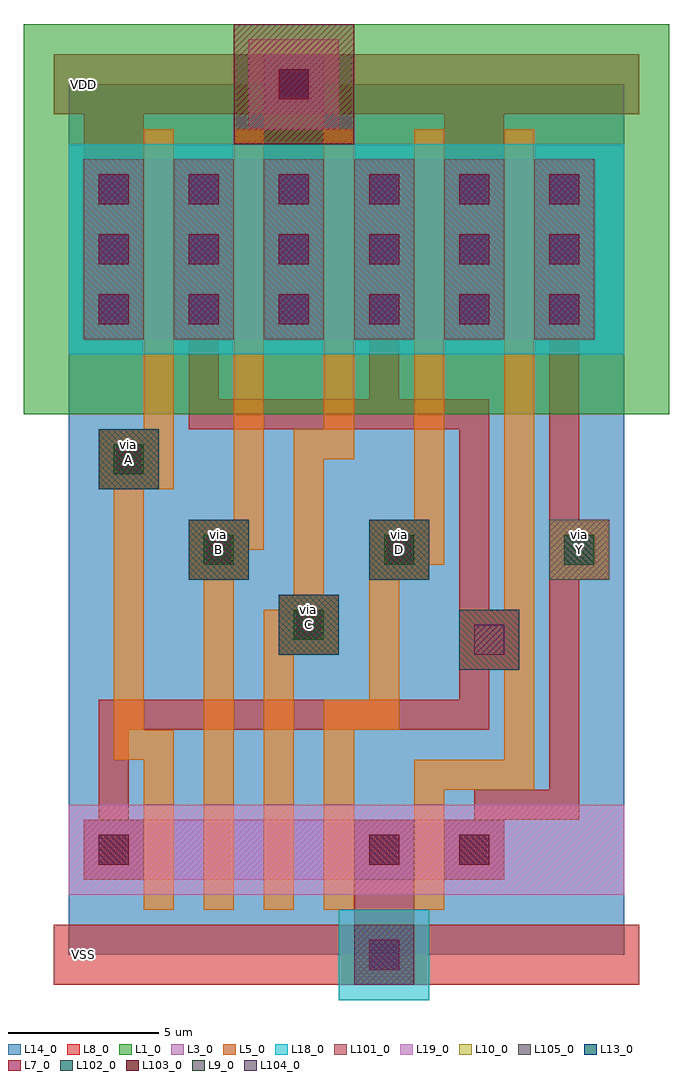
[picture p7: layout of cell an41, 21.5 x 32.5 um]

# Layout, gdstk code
import gdstk
lib = gdstk.Library(unit=1e-6, precision=1e-09)
def R(c, l, rs):  # rectangles x0, y0, x1, y1
    for r in rs: c.add(gdstk.rectangle(r[:2], r[2:], *l))
def A(c, l, x, y, w, h, nx, ny, dx, dy):  # array of equal rectangles
    R(c, l, [(x+i*dx, y+j*dy, x+i*dx+w, y+j*dy+h) for i in range(nx) for j in range(ny)])
def P(c, l, *ps):  # polygons
    for p in ps: c.add(gdstk.Polygon(p, *l))
L1_0 = (1, 0)
L3_0 = (3, 0)
L5_0 = (5, 0)
L7_0 = (7, 0)
L8_0 = (8, 0)
L9_0 = (9, 0)
L10_0 = (10, 0)
L13_0 = (13, 0)
L14_0 = (14, 0)
L18_0 = (18, 0)
L19_0 = (19, 0)
L101_0 = (101, 0)
L102_0 = (102, 0)
L103_0 = (103, 0)
L104_0 = (104, 0)
L105_0 = (105, 0)

dcont = lib.new_cell('dcont')
R(dcont, L3_0, [(-1,-1,1,1)])
R(dcont, L7_0, [(-0.5,-0.5,0.5,0.5)])
R(dcont, L8_0, [(-1,-1,1,1)])
R(dcont, L13_0, [(-0.5,-0.5,0.5,0.5)])
R(dcont, L101_0, [(-1,-1,1,1)])
dcont.add(gdstk.Label('dcont', (0,0), layer=13, texttype=0))

via = lib.new_cell('Via')
R(via, L8_0, [(-1,-1,1,1)])
R(via, L9_0, [(-0.5,-0.5,0.5,0.5)])
R(via, L10_0, [(-1,-1,1,1)])
R(via, L13_0, [(-0.5,-0.5,0.5,0.5)])
R(via, L105_0, [(-1,-1,1,1)])
via.add(gdstk.Label('via', (0,0), layer=13, texttype=0))

nsubcont = lib.new_cell('nsubcont')
R(nsubcont, L1_0, [(-2,-2,2,2)])
R(nsubcont, L19_0, [(-1.5,-1.5,1.5,1.5)])
R(nsubcont, L103_0, [(-2,-2,2,2)])
nsubcont.add(gdstk.Reference(dcont, (0,0)))
nsubcont.add(gdstk.Label('NScont', (0,0), layer=13, texttype=0))

psubcont = lib.new_cell('psubcont')
R(psubcont, L18_0, [(-1.5,-1.5,1.5,1.5)])
R(psubcont, L104_0, [(-1,-1,1,1)])
psubcont.add(gdstk.Reference(dcont, (0,0)))
psubcont.add(gdstk.Label('PScon', (0,0), layer=13, texttype=0))

pcont = lib.new_cell('pcont')
R(pcont, L5_0, [(-1,-1,1,1)])
R(pcont, L7_0, [(-0.5,-0.5,0.5,0.5)])
R(pcont, L8_0, [(-1,-1,1,1)])
R(pcont, L102_0, [(-1,-1,1,1)])
pcont.add(gdstk.Label('pcont', (0,0), layer=13, texttype=0))

an41 = lib.new_cell('an41')
R(an41, L1_0, [(-1.5,18,20,31)])
R(an41, L3_0, [(0.5,2.5,14.5,4.5), (0.5,20.5,17.5,26.5)])
R(an41, L8_0, [(-0.5,-1,19,1), (-0.5,-1,19,1), (7,10,9,12), (7,10,9,12), (4,12.5,6,14.5), (4,12.5,6,14.5), (10,12.5,12,14.5), (10,12.5,12,14.5), (16,12.5,18,14.5), (16,12.5,18,14.5), (1,15.5,3,17.5), (1,15.5,3,17.5), (-0.5,28,19,30), (-0.5,28,19,30)])
P(an41, L8_0, [(-0.5,-1),(-0.5,-1),(-0.5,-1),(-0.5,-1)])
R(an41, L10_0, [(7,10,9,12), (7,10,9,12), (4,12.5,6,14.5), (4,12.5,6,14.5), (10,12.5,12,14.5), (10,12.5,12,14.5), (16,12.5,18,14.5), (16,12.5,18,14.5), (1,15.5,3,17.5), (1,15.5,3,17.5)])
R(an41, L14_0, [(0,0,18.5,29)])
R(an41, L18_0, [(0,20,18.5,27)])
R(an41, L19_0, [(0,2,18.5,5)])
A(an41, L105_0, 4, 12.5, 2, 2, 3, 1, 6, 0)
R(an41, L105_0, [(7,10,9,12), (1,15.5,3,17.5)])
an41.add(gdstk.FlexPath([(3,27),(3,16),(2,16),(2,7),(3,7),(3,2)], 1, ends="extended", simple_path=True, layer=5, datatype=0))  # L5_0
an41.add(gdstk.FlexPath([(6,27),(6,14),(5,14),(5,2)], 1, ends="extended", simple_path=True, layer=5, datatype=0))  # L5_0
an41.add(gdstk.FlexPath([(9,27),(9,17),(8,17),(8,11),(7,11),(7,2)], 1, ends="extended", simple_path=True, layer=5, datatype=0))  # L5_0
an41.add(gdstk.FlexPath([(9,2),(9,8),(10.5,8),(10.5,13.5),(12,13.5),(12,27)], 1, ends="extended", simple_path=True, layer=5, datatype=0))  # L5_0
an41.add(gdstk.FlexPath([(15,27),(15,6),(12,6),(12,2)], 1, ends="extended", simple_path=True, layer=5, datatype=0))  # L5_0
an41.add(gdstk.FlexPath([(16.5,22.3),(16.5,25.5)], 1.4, ends="extended", simple_path=True, layer=8, datatype=0))  # L8_0
an41.add(gdstk.FlexPath([(16.5,21.5),(16.5,5),(14,5),(14,3.8)], 1, ends="extended", simple_path=True, layer=8, datatype=0))  # L8_0
an41.add(gdstk.FlexPath([(13.5,22.3),(13.5,25.5)], 1.4, ends="extended", simple_path=True, layer=8, datatype=0))  # L8_0
an41.add(gdstk.FlexPath([(13.5,21.5),(13.5,28.5)], 2, ends="extended", simple_path=True, layer=8, datatype=0))  # L8_0
an41.add(gdstk.FlexPath([(10.5,22.3),(10.5,25.5)], 1.4, ends="extended", simple_path=True, layer=8, datatype=0))  # L8_0
an41.add(gdstk.FlexPath([(10.5,21.5),(10.5,18)], 1, ends="extended", simple_path=True, layer=8, datatype=0))  # L8_0
an41.add(gdstk.FlexPath([(4.5,21.5),(4.5,18),(13.5,18),(13.5,8),(1.5,8),(1.5,3.8)], 1, ends="extended", simple_path=True, layer=8, datatype=0))  # L8_0
an41.add(gdstk.FlexPath([(7.5,21.5),(7.5,29)], 2, ends="extended", simple_path=True, layer=8, datatype=0))  # L8_0
an41.add(gdstk.FlexPath([(4.5,22.3),(4.5,25.5)], 1.4, ends="extended", simple_path=True, layer=8, datatype=0))  # L8_0
an41.add(gdstk.FlexPath([(10.5,0),(10.5,3.5)], 2, ends="extended", simple_path=True, layer=8, datatype=0))  # L8_0
an41.add(gdstk.FlexPath([(1.5,21.5),(1.5,28.5)], 2, ends="extended", simple_path=True, layer=8, datatype=0))  # L8_0
an41.add(gdstk.Reference(dcont, (1.5,23.5)))
an41.add(gdstk.Reference(via, (8,11)))
an41.add(gdstk.Reference(nsubcont, (7.5,29)))
an41.add(gdstk.Reference(dcont, (13.5,23.5)))
an41.add(gdstk.Reference(psubcont, (10.5,0)))
an41.add(gdstk.Reference(dcont, (13.5,25.5)))
an41.add(gdstk.Reference(dcont, (7.5,23.5)))
an41.add(gdstk.Reference(pcont, (8,11)))
an41.add(gdstk.Reference(dcont, (4.5,21.5)))
an41.add(gdstk.Reference(dcont, (10.5,23.5)))
an41.add(gdstk.Reference(dcont, (7.5,25.5)))
an41.add(gdstk.Reference(via, (17,13.5)))
an41.add(gdstk.Reference(dcont, (13.5,21.5)))
an41.add(gdstk.Reference(dcont, (10.5,21.5)))
an41.add(gdstk.Reference(pcont, (5,13.5)))
an41.add(gdstk.Reference(dcont, (16.5,23.5)))
an41.add(gdstk.Reference(dcont, (16.5,25.5)))
an41.add(gdstk.Reference(pcont, (2,16.5)))
an41.add(gdstk.Reference(dcont, (1.5,25.5)))
an41.add(gdstk.Reference(dcont, (1.5,3.5)))
an41.add(gdstk.Reference(dcont, (4.5,23.5)))
an41.add(gdstk.Reference(dcont, (1.5,21.5)))
an41.add(gdstk.Reference(dcont, (7.5,21.5)))
an41.add(gdstk.Reference(dcont, (13.5,3.5)))
an41.add(gdstk.Reference(dcont, (10.5,3.5)))
an41.add(gdstk.Reference(dcont, (10.5,25.5)))
an41.add(gdstk.Reference(dcont, (4.5,25.5)))
an41.add(gdstk.Reference(pcont, (11,13.5)))
an41.add(gdstk.Reference(pcont, (14,10.5)))
an41.add(gdstk.Reference(via, (5,13.5)))
an41.add(gdstk.Reference(via, (2,16.5)))
an41.add(gdstk.Reference(dcont, (16.5,21.5)))
an41.add(gdstk.Reference(via, (11,13.5)))
an41.add(gdstk.Label('VSS', (0.5,0), layer=8, texttype=0))
an41.add(gdstk.Label('VDD', (0.5,29), layer=8, texttype=0))
an41.add(gdstk.Label('Y', (17,13.5), layer=10, texttype=0))
an41.add(gdstk.Label('D', (11,13.5), layer=10, texttype=0))
an41.add(gdstk.Label('C', (8,11), layer=10, texttype=0))
an41.add(gdstk.Label('B', (5,13.5), layer=10, texttype=0))
an41.add(gdstk.Label('A', (2,16.5), layer=10, texttype=0))
an41.add(gdstk.Label('via', (17,14), layer=13, texttype=0))
an41.add(gdstk.Label('via', (11,14), layer=13, texttype=0))
an41.add(gdstk.Label('via', (8,11.5), layer=13, texttype=0))
an41.add(gdstk.Label('via', (5,14), layer=13, texttype=0))
an41.add(gdstk.Label('via', (2,17), layer=13, texttype=0))

lib.write_gds('an41.gds')
